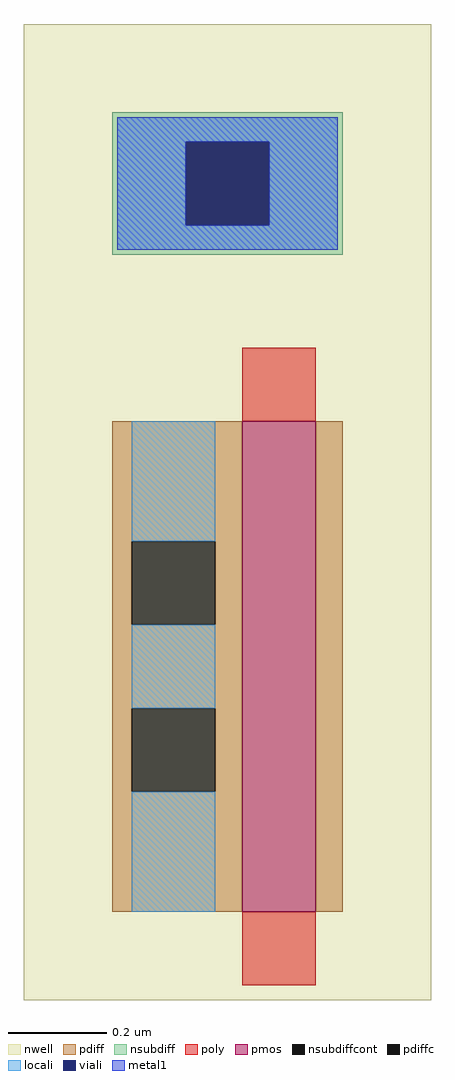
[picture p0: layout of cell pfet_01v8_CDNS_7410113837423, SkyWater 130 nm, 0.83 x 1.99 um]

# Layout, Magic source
magic
tech sky130A
magscale 1 2
<< nwell >>
rect -89 -36 77 362
<< pmos >>
rect 0 0 30 200
<< pdiff >>
rect -53 151 0 200
rect -53 117 -45 151
rect -11 117 0 151
rect -53 83 0 117
rect -53 49 -45 83
rect -11 49 0 83
rect -53 0 0 49
rect 30 0 41 200
<< pdiffc >>
rect -45 117 -11 151
rect -45 49 -11 83
<< nsubdiff >>
rect -53 314 41 326
rect -53 280 -23 314
rect 11 280 41 314
rect -53 268 41 280
<< nsubdiffcont >>
rect -23 280 11 314
<< poly >>
rect 0 200 30 230
rect 0 -30 30 0
<< locali >>
rect -51 314 39 324
rect -51 280 -23 314
rect 11 280 39 314
rect -51 270 39 280
rect -45 151 -11 200
rect -45 83 -11 117
rect -45 0 -11 49
<< viali >>
rect -23 280 11 314
<< metal1 >>
rect -51 314 39 324
rect -51 280 -23 314
rect 11 280 39 314
rect -51 270 39 280
<< end >>
